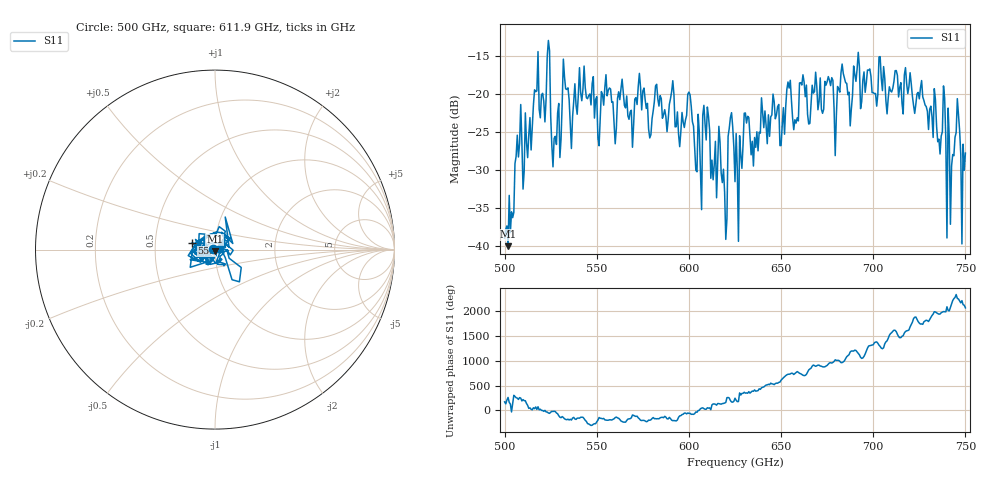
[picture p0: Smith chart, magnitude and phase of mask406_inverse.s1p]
!Created with skrf (http://scikit-rf.org).
# GHz S MA R 50.0
!freq magS11 angS11
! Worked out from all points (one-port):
!   401 points, 500 GHz to 750 GHz, reference 50 ohm
!   lowest |S11| = -40.0 dB at 501.9 GHz (marker M1), VSWR 1.02, Z = 49.8 - j0.979 ohm
!   |S11| at or under -10 dB: start of sweep to end of sweep
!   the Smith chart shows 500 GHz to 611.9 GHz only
!   S11 on the Smith chart (normalised r, x): 500 GHz: 0.98, +0.00; 555 GHz: 0.77, +0.06; 611.9 GHz: 1.06, +0.01
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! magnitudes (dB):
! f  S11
! 500 GHz  -39.0
! 501.9 GHz  -40.0
! 507.5 GHz  -28.3
! 511.2 GHz  -22.5
! 516.9 GHz  -19.7
! 523.8 GHz  -13.0
! 526.9 GHz  -25.8
! 531.2 GHz  -21.1
! 555 GHz  -17.5
! 562.5 GHz  -20.7
! 579.4 GHz  -25.4
! 590.6 GHz  -19.7
! 593.8 GHz  -22.4
! 600 GHz  -19.7
! 605.6 GHz  -25.0
! 608.8 GHz  -23.9
! 611.9 GHz  -31.1
! 619.4 GHz  -33.0
! 622.5 GHz  -23.1
! 625 GHz  -31.5
! 656.2 GHz  -23.2
! 687.5 GHz  -24.2
! 690.6 GHz  -18.3
! 718.8 GHz  -19.9
! 738.1 GHz  -18.9
! 741.2 GHz  -25.7
! 745.6 GHz  -20.6
! 750 GHz  -27.8
